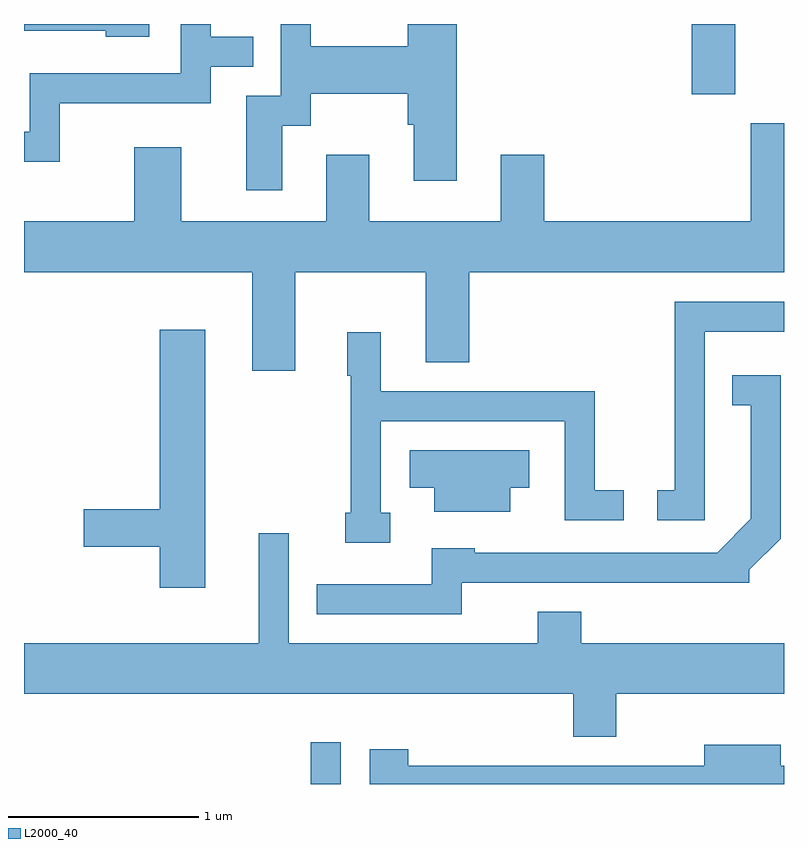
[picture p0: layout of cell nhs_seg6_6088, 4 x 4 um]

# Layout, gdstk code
import gdstk
lib = gdstk.Library(unit=1e-6, precision=1e-09)
def R(c, l, rs):  # rectangles x0, y0, x1, y1
    for r in rs: c.add(gdstk.rectangle(r[:2], r[2:], *l))
def P(c, l, *ps):  # polygons
    for p in ps: c.add(gdstk.Polygon(p, *l))
L2000_40 = (2000, 40)

nhs_seg6_6088 = lib.new_cell('nhs_seg6_6088')
R(nhs_seg6_6088, L2000_40, [(371.121,1616.162,371.279,1616.383), (373.126,1619.791,373.354,1620.162)])
P(nhs_seg6_6088, L2000_40, [(369.799,1619.746),(370.594,1619.746),(370.594,1619.936),(370.818,1619.936),(370.818,1620.094),(370.594,1620.094),(370.594,1620.162),(370.436,1620.162),(370.436,1619.904),(369.641,1619.904),(369.641,1619.594),(369.611,1619.594),(369.611,1619.436),(369.799,1619.436)],
  [(370.269,1620.162),(369.611,1620.162),(369.611,1620.126),(370.041,1620.126),(370.041,1620.096),(370.269,1620.096)],
  [(370.969,1619.626),(371.119,1619.626),(371.119,1619.796),(371.631,1619.796),(371.631,1619.631),(371.661,1619.631),(371.661,1619.336),(371.889,1619.336),(371.889,1620.162),(371.631,1620.162),(371.631,1620.044),(371.119,1620.044),(371.119,1620.162),(370.961,1620.162),(370.961,1619.784),(370.781,1619.784),(370.781,1619.286),(370.969,1619.286)],
  [(371.039,1618.856),(371.726,1618.856),(371.726,1618.381),(371.954,1618.381),(371.954,1618.856),(373.611,1618.856),(373.611,1619.639),(373.436,1619.639),(373.436,1619.124),(372.349,1619.124),(372.349,1619.474),(372.121,1619.474),(372.121,1619.124),(371.429,1619.124),(371.429,1619.474),(371.201,1619.474),(371.201,1619.124),(370.439,1619.124),(370.439,1619.514),(370.191,1619.514),(370.191,1619.124),(369.611,1619.124),(369.611,1618.856),(370.811,1618.856),(370.811,1618.336),(371.039,1618.336)],
  [(373.194,1618.541),(373.611,1618.541),(373.611,1618.699),(373.036,1618.699),(373.036,1617.709),(372.943,1617.709),(372.943,1617.551),(373.194,1617.551)],
  [(370.564,1618.554),(370.326,1618.554),(370.326,1617.609),(369.926,1617.609),(369.926,1617.411),(370.326,1617.411),(370.326,1617.196),(370.564,1617.196)],
  [(371.538,1617.589),(371.489,1617.589),(371.489,1618.071),(372.456,1618.071),(372.456,1617.551),(372.768,1617.551),(372.768,1617.709),(372.614,1617.709),(372.614,1618.229),(371.489,1618.229),(371.489,1618.539),(371.311,1618.539),(371.311,1618.311),(371.331,1618.311),(371.331,1617.589),(371.301,1617.589),(371.301,1617.431),(371.538,1617.431)],
  [(371.914,1617.221),(373.429,1617.221),(373.429,1617.289),(373.594,1617.454),(373.594,1618.314),(373.338,1618.314),(373.338,1618.156),(373.436,1618.156),(373.436,1617.557),(373.259,1617.379),(371.984,1617.379),(371.984,1617.404),(371.756,1617.404),(371.756,1617.214),(371.153,1617.214),(371.153,1617.056),(371.914,1617.056)],
  [(372.169,1617.721),(372.269,1617.721),(372.269,1617.919),(371.641,1617.919),(371.641,1617.721),(371.771,1617.721),(371.771,1617.596),(372.169,1617.596)],
  [(372.729,1616.636),(373.611,1616.636),(373.611,1616.904),(372.544,1616.904),(372.544,1617.069),(372.316,1617.069),(372.316,1616.904),(371.004,1616.904),(371.004,1617.483),(370.846,1617.483),(370.846,1616.904),(369.611,1616.904),(369.611,1616.636),(372.501,1616.636),(372.501,1616.411),(372.729,1616.411)],
  [(373.611,1616.259),(373.594,1616.259),(373.594,1616.369),(373.191,1616.369),(373.191,1616.259),(371.634,1616.259),(371.634,1616.344),(371.431,1616.344),(371.431,1616.162),(373.611,1616.162)])

lib.write_gds('nhs_seg6_6088.gds')
